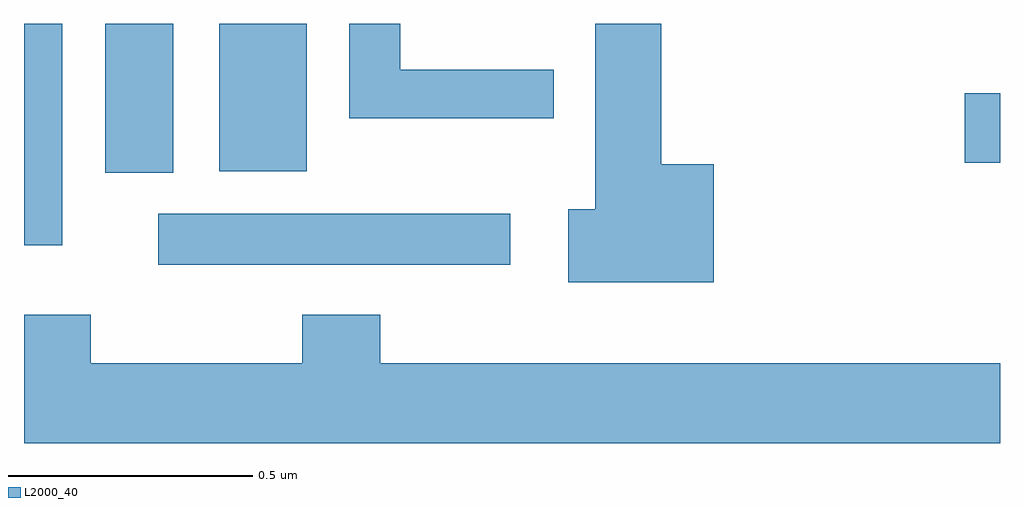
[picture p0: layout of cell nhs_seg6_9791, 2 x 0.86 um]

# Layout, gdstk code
import gdstk
lib = gdstk.Library(unit=1e-6, precision=1e-09)
def R(c, l, rs):  # rectangles x0, y0, x1, y1
    for r in rs: c.add(gdstk.rectangle(r[:2], r[2:], *l))
def P(c, l, *ps):  # polygons
    for p in ps: c.add(gdstk.Polygon(p, *l))
L2000_40 = (2000, 40)

nhs_seg6_9791 = lib.new_cell('nhs_seg6_9791')
R(nhs_seg6_9791, L2000_40, [(238.275,977.006,238.996,977.11), (238,977.046,238.078,977.5), (238.166,977.195,238.306,977.5), (238.4,977.198,238.579,977.5), (239.928,977.215,240,977.357)])
P(nhs_seg6_9791, L2000_40, [(239.413,977.212),(239.306,977.212),(239.306,977.5),(239.171,977.5),(239.171,977.12),(239.115,977.12),(239.115,976.97),(239.413,976.97)],
  [(239.086,977.406),(238.771,977.406),(238.771,977.5),(238.667,977.5),(238.667,977.306),(239.086,977.306)],
  [(240,976.804),(238.73,976.804),(238.73,976.903),(238.57,976.903),(238.57,976.804),(238.137,976.804),(238.137,976.903),(238,976.903),(238,976.64),(240,976.64)])

lib.write_gds('nhs_seg6_9791.gds')
